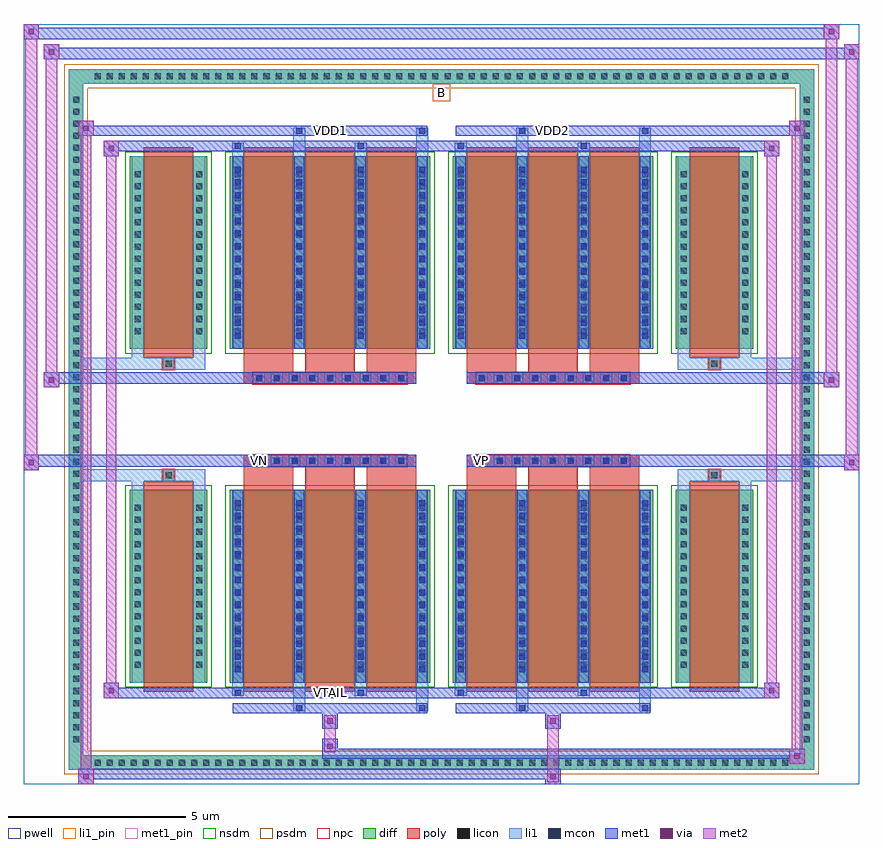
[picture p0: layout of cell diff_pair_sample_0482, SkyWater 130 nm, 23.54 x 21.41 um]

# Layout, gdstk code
import gdstk
lib = gdstk.Library(unit=1e-6, precision=5e-09)
def R(c, l, rs):  # rectangles x0, y0, x1, y1
    for r in rs: c.add(gdstk.rectangle(r[:2], r[2:], *l))
def A(c, l, x, y, w, h, nx, ny, dx, dy):  # array of equal rectangles
    R(c, l, [(x+i*dx, y+j*dy, x+i*dx+w, y+j*dy+h) for i in range(nx) for j in range(ny)])
def P(c, l, *ps):  # polygons
    for p in ps: c.add(gdstk.Polygon(p, *l))
pwell = (64, 44)
diff = (65, 20)
poly = (66, 20)
licon = (66, 44)
li1_pin = (67, 16)
li1 = (67, 20)
mcon = (67, 44)
met1_pin = (68, 16)
met1 = (68, 20)
via = (68, 44)
met2 = (69, 20)
nsdm = (93, 44)
psdm = (94, 20)
npc = (95, 20)

diff_pair_sample_0482 = lib.new_cell('diff_pair_sample_0482')
R(diff_pair_sample_0482, pwell, [(-11.77,-10.27,11.77,11.14), (-9.09,-8.46,-0.01,-0.8), (0.01,-8.46,9.09,-0.8), (-9.09,0.8,-0.01,8.46), (0.01,0.8,9.09,8.46)])
A(diff_pair_sample_0482, diff, -9.895, -9.87, 0.41, 0.41, 58, 2, 0.34, 19.33)
A(diff_pair_sample_0482, diff, -10.5, -9.215, 0.41, 0.41, 1, 54, 0, 0.34)
A(diff_pair_sample_0482, diff, 10.09, -9.215, 0.41, 0.41, 1, 54, 0, 0.34)
R(diff_pair_sample_0482, diff, [(-9.895,-9.87,9.895,-9.46), (-10.5,-9.215,-10.09,9.215), (10.09,-9.215,10.5,9.215), (-8.78,-7.415,-6.6,-1.985), (-5.96,-7.415,-0.32,-1.985), (0.32,-7.415,5.96,-1.985), (6.6,-7.415,8.78,-1.985), (-8.78,1.985,-6.6,7.415), (-5.96,1.985,-0.32,7.415), (0.32,1.985,5.96,7.415), (6.6,1.985,8.78,7.415), (-9.895,9.46,9.895,9.87)])
P(diff_pair_sample_0482, diff, [(10.5,9.87),(-10.5,9.87),(-10.5,-9.46),(-10.09,-9.46),(-10.09,9.46),(10.09,9.46),(10.09,-9.46),(-10.09,-9.46),(-10.5,-9.46),(-10.5,-9.87),(10.5,-9.87)])
A(diff_pair_sample_0482, poly, -5.57, -7.665, 1.4, 5.93, 3, 2, 1.73, 9.4)
A(diff_pair_sample_0482, poly, 0.71, -7.665, 1.4, 5.93, 3, 2, 1.73, 9.4)
A(diff_pair_sample_0482, poly, -5.57, -1.735, 1.4, 0.405, 3, 2, 1.73, 3.065)
A(diff_pair_sample_0482, poly, 0.71, -1.735, 1.4, 0.405, 3, 2, 1.73, 3.065)
A(diff_pair_sample_0482, poly, -5.305, -1.33, 0.33, 0.33, 9, 2, 0.5, 2.33)
A(diff_pair_sample_0482, poly, 0.975, -1.33, 0.33, 0.33, 9, 2, 0.5, 2.33)
R(diff_pair_sample_0482, poly, [(-8.39,-7.665,-6.99,-1.735), (6.99,-7.665,8.39,-1.735), (-7.855,-1.735,-7.525,-1.405), (-7.855,-1.735,-7.525,-1.405), (7.525,-1.735,7.855,-1.405), (7.525,-1.735,7.855,-1.405), (-5.57,-1.33,-0.71,-1), (0.71,-1.33,5.57,-1), (-5.57,1,-0.71,1.33), (0.71,1,5.57,1.33), (-7.855,1.405,-7.525,1.735), (-7.855,1.405,-7.525,1.735), (7.525,1.405,7.855,1.735), (7.525,1.405,7.855,1.735), (-8.39,1.735,-6.99,7.665), (6.99,1.735,8.39,7.665)])
A(diff_pair_sample_0482, licon, -9.775, -9.75, 0.17, 0.17, 58, 2, 0.34, 19.33)
A(diff_pair_sample_0482, licon, -10.38, -9.095, 0.17, 0.17, 1, 54, 0, 0.34)
A(diff_pair_sample_0482, licon, 10.21, -9.095, 0.17, 0.17, 1, 54, 0, 0.34)
A(diff_pair_sample_0482, licon, -8.64, -6.995, 0.17, 0.17, 1, 14, 0, 0.34)
A(diff_pair_sample_0482, licon, -6.91, -6.995, 0.17, 0.17, 1, 14, 0, 0.34)
A(diff_pair_sample_0482, licon, -5.82, -6.995, 0.17, 0.17, 4, 14, 1.73, 0.34)
A(diff_pair_sample_0482, licon, 0.46, -6.995, 0.17, 0.17, 4, 14, 1.73, 0.34)
A(diff_pair_sample_0482, licon, 6.74, -6.995, 0.17, 0.17, 1, 14, 0, 0.34)
A(diff_pair_sample_0482, licon, 8.47, -6.995, 0.17, 0.17, 1, 14, 0, 0.34)
A(diff_pair_sample_0482, licon, -5.225, -1.25, 0.17, 0.17, 9, 2, 0.5, 2.33)
A(diff_pair_sample_0482, licon, 1.055, -1.25, 0.17, 0.17, 9, 2, 0.5, 2.33)
A(diff_pair_sample_0482, licon, -8.64, 2.405, 0.17, 0.17, 1, 14, 0, 0.34)
A(diff_pair_sample_0482, licon, -6.91, 2.405, 0.17, 0.17, 1, 14, 0, 0.34)
A(diff_pair_sample_0482, licon, -5.82, 2.405, 0.17, 0.17, 4, 14, 1.73, 0.34)
A(diff_pair_sample_0482, licon, 0.46, 2.405, 0.17, 0.17, 4, 14, 1.73, 0.34)
A(diff_pair_sample_0482, licon, 6.74, 2.405, 0.17, 0.17, 1, 14, 0, 0.34)
A(diff_pair_sample_0482, licon, 8.47, 2.405, 0.17, 0.17, 1, 14, 0, 0.34)
R(diff_pair_sample_0482, licon, [(-7.775,-1.655,-7.605,-1.485), (7.605,-1.655,7.775,-1.485), (-7.775,1.485,-7.605,1.655), (7.605,1.485,7.775,1.655)])
R(diff_pair_sample_0482, li1_pin, [(-0.25,8.96,0.25,9.46)])
A(diff_pair_sample_0482, li1, -9.855, -9.83, 0.33, 0.33, 58, 2, 0.34, 19.33)
A(diff_pair_sample_0482, li1, -10.46, -9.175, 0.33, 0.33, 1, 54, 0, 0.34)
A(diff_pair_sample_0482, li1, 10.13, -9.175, 0.33, 0.33, 1, 54, 0, 0.34)
A(diff_pair_sample_0482, li1, -5.9, -7.415, 0.33, 5.43, 4, 2, 1.73, 9.4)
A(diff_pair_sample_0482, li1, 0.38, -7.415, 0.33, 5.43, 4, 2, 1.73, 9.4)
A(diff_pair_sample_0482, li1, -5.82, -7.125, 0.17, 0.17, 4, 14, 1.73, 0.36)
A(diff_pair_sample_0482, li1, -5.82, -7.125, 0.17, 4.85, 4, 2, 1.73, 9.4)
A(diff_pair_sample_0482, li1, 0.46, -7.125, 0.17, 0.17, 4, 14, 1.73, 0.36)
A(diff_pair_sample_0482, li1, 0.46, -7.125, 0.17, 4.85, 4, 2, 1.73, 9.4)
A(diff_pair_sample_0482, li1, -8.72, -7.075, 0.33, 0.33, 1, 14, 0, 0.34)
A(diff_pair_sample_0482, li1, -6.99, -7.075, 0.33, 0.33, 1, 14, 0, 0.34)
A(diff_pair_sample_0482, li1, -5.9, -7.075, 0.33, 0.33, 4, 14, 1.73, 0.34)
A(diff_pair_sample_0482, li1, 0.38, -7.075, 0.33, 0.33, 4, 14, 1.73, 0.34)
A(diff_pair_sample_0482, li1, 6.66, -7.075, 0.33, 0.33, 1, 14, 0, 0.34)
A(diff_pair_sample_0482, li1, 8.39, -7.075, 0.33, 0.33, 1, 14, 0, 0.34)
A(diff_pair_sample_0482, li1, -5.305, -1.33, 0.33, 0.33, 9, 2, 0.5, 2.33)
A(diff_pair_sample_0482, li1, 0.975, -1.33, 0.33, 0.33, 9, 2, 0.5, 2.33)
A(diff_pair_sample_0482, li1, -5.82, 2.275, 0.17, 0.17, 4, 14, 1.73, 0.36)
A(diff_pair_sample_0482, li1, 0.46, 2.275, 0.17, 0.17, 4, 14, 1.73, 0.36)
A(diff_pair_sample_0482, li1, -8.72, 2.325, 0.33, 0.33, 1, 14, 0, 0.34)
A(diff_pair_sample_0482, li1, -6.99, 2.325, 0.33, 0.33, 1, 14, 0, 0.34)
A(diff_pair_sample_0482, li1, -5.9, 2.325, 0.33, 0.33, 4, 14, 1.73, 0.34)
A(diff_pair_sample_0482, li1, 0.38, 2.325, 0.33, 0.33, 4, 14, 1.73, 0.34)
A(diff_pair_sample_0482, li1, 6.66, 2.325, 0.33, 0.33, 1, 14, 0, 0.34)
A(diff_pair_sample_0482, li1, 8.39, 2.325, 0.33, 0.33, 1, 14, 0, 0.34)
R(diff_pair_sample_0482, li1, [(-10.5,-9.87,-10.09,-9.46), (-10.5,-9.87,-10.09,-9.46), (-10.09,-9.87,10.09,-9.46), (10.09,-9.87,10.5,-9.46), (10.09,-9.87,10.5,-9.46), (-10.5,-9.46,-10.09,9.46), (10.09,-9.46,10.5,9.46), (-4.17,-8.22,-3.84,-7.415), (-4.09,-8.22,-3.92,-8.05), (-0.71,-8.22,-0.38,-7.415), (-0.63,-8.22,-0.46,-8.05), (2.11,-8.22,2.44,-7.415), (2.19,-8.22,2.36,-8.05), (5.57,-8.22,5.9,-7.415), (5.65,-8.22,5.82,-8.05), (-5.9,-7.79,-5.57,-7.415), (-5.82,-7.79,-5.65,-7.62), (-2.44,-7.79,-2.11,-7.415), (-2.36,-7.79,-2.19,-7.62), (0.38,-7.79,0.71,-7.415), (0.46,-7.79,0.63,-7.62), (3.84,-7.79,4.17,-7.415), (3.92,-7.79,4.09,-7.62), (-8.72,-7.415,-8.39,-1.985), (-6.99,-7.415,-6.66,-1.985), (6.66,-7.415,6.99,-1.985), (8.39,-7.415,8.72,-1.985), (-8.72,-1.985,-8.39,-1.405), (-6.99,-1.985,-6.66,-1.405), (6.66,-1.985,6.99,-1.405), (8.39,-1.985,8.72,-1.405), (-10.5,-1.735,-7.855,-1.405), (-8.72,-1.735,-7.855,-1.405), (-7.855,-1.735,-7.525,-1.405), (-7.525,-1.735,-6.66,-1.405), (6.66,-1.735,7.525,-1.405), (7.525,-1.735,7.855,-1.405), (7.525,-1.735,10.5,-1.405), (7.855,-1.735,8.72,-1.405), (-10.5,1.405,-7.855,1.735), (-8.72,1.405,-7.855,1.735), (-8.72,1.405,-8.39,1.985), (-7.855,1.405,-7.525,1.735), (-7.525,1.405,-6.66,1.735), (-6.99,1.405,-6.66,1.985), (6.66,1.405,7.525,1.735), (6.66,1.405,6.99,1.985), (7.525,1.405,7.855,1.735), (7.525,1.405,10.5,1.735), (7.855,1.405,8.72,1.735), (8.39,1.405,8.72,1.985), (-8.72,1.985,-8.39,7.415), (-6.99,1.985,-6.66,7.415), (6.66,1.985,6.99,7.415), (8.39,1.985,8.72,7.415), (-5.9,7.415,-5.57,7.79), (-4.17,7.415,-3.84,8.22), (-2.44,7.415,-2.11,7.79), (-0.71,7.415,-0.38,8.22), (0.38,7.415,0.71,7.79), (2.11,7.415,2.44,8.22), (3.84,7.415,4.17,7.79), (5.57,7.415,5.9,8.22), (-5.82,7.62,-5.65,7.79), (-2.36,7.62,-2.19,7.79), (0.46,7.62,0.63,7.79), (3.92,7.62,4.09,7.79), (-4.09,8.05,-3.92,8.22), (-0.63,8.05,-0.46,8.22), (2.19,8.05,2.36,8.22), (5.65,8.05,5.82,8.22), (-10.5,9.46,-10.09,9.87), (-10.5,9.46,-10.09,9.87), (-10.09,9.46,10.09,9.87), (10.09,9.46,10.5,9.87), (10.09,9.46,10.5,9.87)])
A(diff_pair_sample_0482, mcon, -5.82, -7.125, 0.17, 0.17, 4, 14, 1.73, 0.36)
A(diff_pair_sample_0482, mcon, 0.46, -7.125, 0.17, 0.17, 4, 14, 1.73, 0.36)
A(diff_pair_sample_0482, mcon, -5.225, -1.25, 0.17, 0.17, 9, 2, 0.5, 2.33)
A(diff_pair_sample_0482, mcon, 1.055, -1.25, 0.17, 0.17, 9, 2, 0.5, 2.33)
A(diff_pair_sample_0482, mcon, -5.82, 2.275, 0.17, 0.17, 4, 14, 1.73, 0.36)
A(diff_pair_sample_0482, mcon, 0.46, 2.275, 0.17, 0.17, 4, 14, 1.73, 0.36)
R(diff_pair_sample_0482, mcon, [(-4.09,-8.22,-3.92,-8.05), (-0.63,-8.22,-0.46,-8.05), (2.19,-8.22,2.36,-8.05), (5.65,-8.22,5.82,-8.05), (-5.82,-7.79,-5.65,-7.62), (-2.36,-7.79,-2.19,-7.62), (0.46,-7.79,0.63,-7.62), (3.92,-7.79,4.09,-7.62), (-5.82,7.62,-5.65,7.79), (-2.36,7.62,-2.19,7.79), (0.46,7.62,0.63,7.79), (3.92,7.62,4.09,7.79), (-4.09,8.05,-3.92,8.22), (-0.63,8.05,-0.46,8.22), (2.19,8.05,2.36,8.22), (5.65,8.05,5.82,8.22)])
R(diff_pair_sample_0482, met1_pin, [(-3.275,-7.83,-3.005,-7.56), (-5.275,-1.29,-5.005,-1.02), (1.005,-1.29,1.275,-1.02), (-3.275,8.01,-3.005,8.28), (3.005,8.01,3.275,8.28)])
A(diff_pair_sample_0482, met1, -5.88, -7.415, 0.29, 5.43, 4, 2, 1.73, 9.4)
A(diff_pair_sample_0482, met1, 0.4, -7.415, 0.29, 5.43, 4, 2, 1.73, 9.4)
A(diff_pair_sample_0482, met1, -5.88, -7.185, 0.29, 0.29, 4, 14, 1.73, 0.36)
A(diff_pair_sample_0482, met1, 0.4, -7.185, 0.29, 0.29, 4, 14, 1.73, 0.36)
A(diff_pair_sample_0482, met1, -5.285, -1.31, 0.29, 0.29, 9, 2, 0.5, 2.33)
A(diff_pair_sample_0482, met1, 0.995, -1.31, 0.29, 0.29, 9, 2, 0.5, 2.33)
A(diff_pair_sample_0482, met1, -5.88, 2.215, 0.29, 0.29, 4, 14, 1.73, 0.36)
A(diff_pair_sample_0482, met1, 0.4, 2.215, 0.29, 0.29, 4, 14, 1.73, 0.36)
R(diff_pair_sample_0482, met1, [(-10.23,-10.27,-9.8,-9.84), (2.925,-10.27,3.355,-9.84), (-10.23,-10.13,3.355,-9.84), (9.8,-9.7,10.23,-9.27), (-3.355,-9.56,10.23,-9.27), (-3.355,-9.42,-2.925,-8.99), (-3.355,-8.71,-2.925,-8.28), (2.925,-8.71,3.355,-8.28), (-5.88,-8.28,-0.4,-7.99), (-4.15,-8.28,-3.86,-7.99), (-0.69,-8.28,-0.4,-7.99), (0.4,-8.28,5.88,-7.99), (2.13,-8.28,2.42,-7.99), (5.59,-8.28,5.88,-7.99), (-9.52,-7.85,-9.09,-7.42), (-9.52,-7.85,-5.88,-7.56), (-5.88,-7.85,-5.59,-7.56), (-5.88,-7.85,-0.4,-7.56), (-2.42,-7.85,-2.13,-7.56), (-0.4,-7.85,0.4,-7.56), (0.4,-7.85,0.69,-7.56), (0.4,-7.85,5.88,-7.56), (3.86,-7.85,4.15,-7.56), (5.88,-7.85,9.52,-7.56), (9.09,-7.85,9.52,-7.42), (-11.77,-1.43,-11.34,-1), (11.34,-1.43,11.77,-1), (-11.77,-1.33,-0.71,-1), (-5.57,-1.33,-0.71,-1), (0.71,-1.33,5.57,-1), (0.71,-1.33,11.77,-1), (-11.2,0.9,-10.77,1.33), (10.77,0.9,11.2,1.33), (-11.2,1,-5.57,1.33), (-5.57,1,-0.71,1.33), (0.71,1,5.57,1.33), (5.57,1,11.2,1.33), (-9.52,7.42,-9.09,7.85), (9.09,7.42,9.52,7.85), (-9.52,7.56,-5.88,7.85), (-5.88,7.56,-5.59,7.85), (-5.88,7.56,-0.4,7.85), (-2.42,7.56,-2.13,7.85), (-0.4,7.56,0.4,7.85), (0.4,7.56,0.69,7.85), (0.4,7.56,5.88,7.85), (3.86,7.56,4.15,7.85), (5.88,7.56,9.52,7.85), (-10.23,7.99,-9.8,8.42), (-10.23,7.99,-5.88,8.28), (-5.88,7.99,-0.4,8.28), (-4.15,7.99,-3.86,8.28), (-0.69,7.99,-0.4,8.28), (0.4,7.99,5.88,8.28), (2.13,7.99,2.42,8.28), (5.59,7.99,5.88,8.28), (5.88,7.99,10.23,8.28), (9.8,7.99,10.23,8.42), (-11.2,10.14,-10.77,10.57), (-11.2,10.14,-9.09,10.47), (-9.09,10.14,9.09,10.47), (9.09,10.14,11.77,10.47), (11.34,10.14,11.77,10.57), (-11.77,10.71,-11.34,11.14), (-11.77,10.71,-9.09,11.04), (-9.09,10.71,9.09,11.04), (9.09,10.71,11.2,11.04), (10.77,10.71,11.2,11.14)])
R(diff_pair_sample_0482, via, [(-10.09,-10.13,-9.94,-9.98), (3.065,-10.13,3.215,-9.98), (9.94,-9.56,10.09,-9.41), (-3.215,-9.28,-3.065,-9.13), (-3.215,-8.57,-3.065,-8.42), (3.065,-8.57,3.215,-8.42), (-9.38,-7.71,-9.23,-7.56), (9.23,-7.71,9.38,-7.56), (-11.63,-1.29,-11.48,-1.14), (11.48,-1.29,11.63,-1.14), (-11.06,1.04,-10.91,1.19), (10.91,1.04,11.06,1.19), (-9.38,7.56,-9.23,7.71), (9.23,7.56,9.38,7.71), (-10.09,8.13,-9.94,8.28), (9.94,8.13,10.09,8.28), (-11.06,10.28,-10.91,10.43), (11.48,10.28,11.63,10.43), (-11.63,10.85,-11.48,11), (10.91,10.85,11.06,11)])
R(diff_pair_sample_0482, met2, [(-10.23,-10.27,-9.8,-9.84), (-10.16,-10.27,-9.87,8.42), (-9.87,-10.27,-9.8,-9.84), (-10.18,-10.22,-9.85,-9.89), (2.975,-10.22,3.305,-9.89), (2.975,-9.89,3.305,-8.66), (9.8,-9.7,10.23,-9.27), (9.87,-9.7,10.16,8.42), (10.16,-9.7,10.23,-9.27), (9.85,-9.65,10.18,-9.32), (-3.305,-9.37,-2.975,-9.04), (-3.305,-9.04,-2.975,-8.66), (-3.305,-8.66,-2.975,-8.33), (2.975,-8.66,3.305,-8.33), (-9.52,-7.85,-9.09,-7.42), (-9.45,-7.85,-9.16,7.85), (-9.16,-7.85,-9.09,-7.42), (9.09,-7.85,9.52,-7.42), (9.16,-7.85,9.45,7.85), (9.45,-7.85,9.52,-7.42), (-9.47,-7.8,-9.14,-7.47), (9.14,-7.8,9.47,-7.47), (-11.77,-1.43,-11.34,-1), (-11.72,-1.43,-11.39,11.14), (-11.39,-1.43,-11.34,-1), (11.34,-1.43,11.77,-1), (11.39,-1.43,11.72,10.57), (11.72,-1.43,11.77,-1), (-11.72,-1.38,-11.39,-1.05), (11.39,-1.38,11.72,-1.05), (-11.2,0.9,-10.77,1.33), (-11.15,0.9,-10.82,10.57), (-10.82,0.9,-10.77,1.33), (10.77,0.9,11.2,1.33), (10.82,0.9,11.15,11.14), (11.15,0.9,11.2,1.33), (-11.15,0.95,-10.82,1.28), (10.82,0.95,11.15,1.28), (-9.52,7.42,-9.09,7.85), (-9.16,7.42,-9.09,7.85), (9.09,7.42,9.52,7.85), (9.45,7.42,9.52,7.85), (-9.47,7.47,-9.14,7.8), (9.14,7.47,9.47,7.8), (-10.23,7.99,-9.8,8.42), (-9.87,7.99,-9.8,8.42), (9.8,7.99,10.23,8.42), (10.16,7.99,10.23,8.42), (-10.18,8.04,-9.85,8.37), (9.85,8.04,10.18,8.37), (-11.2,10.14,-10.77,10.57), (-10.82,10.14,-10.77,10.57), (11.34,10.14,11.77,10.57), (11.72,10.14,11.77,10.57), (-11.15,10.19,-10.82,10.52), (11.39,10.19,11.72,10.52), (-11.77,10.71,-11.34,11.14), (-11.39,10.71,-11.34,11.14), (10.77,10.71,11.2,11.14), (11.15,10.71,11.2,11.14), (-11.72,10.76,-11.39,11.09), (10.82,10.76,11.15,11.09)])
R(diff_pair_sample_0482, nsdm, [(-8.91,-7.545,-6.47,-1.855), (-6.09,-7.545,-0.19,-1.855), (0.19,-7.545,6.09,-1.855), (6.47,-7.545,8.91,-1.855), (-8.91,1.855,-6.47,7.545), (-6.09,1.855,-0.19,7.545), (0.19,1.855,6.09,7.545), (6.47,1.855,8.91,7.545)])
P(diff_pair_sample_0482, psdm, [(10.63,10),(-10.63,10),(-10.63,-9.33),(-9.96,-9.33),(-9.96,9.33),(9.96,9.33),(9.96,-9.33),(-9.96,-9.33),(-10.63,-9.33),(-10.63,-10),(10.63,-10)])
A(diff_pair_sample_0482, npc, -5.325, -1.35, 0.37, 0.37, 9, 2, 0.5, 2.33)
A(diff_pair_sample_0482, npc, 0.955, -1.35, 0.37, 0.37, 9, 2, 0.5, 2.33)
R(diff_pair_sample_0482, npc, [(-7.875,-1.755,-7.505,-1.385), (7.505,-1.755,7.875,-1.385), (-5.325,-1.35,-4.455,-0.98), (-5.325,-1.35,-4.455,-0.98), (-4.825,-1.35,-3.955,-0.98), (-4.825,-1.35,-3.955,-0.98), (-4.325,-1.35,-3.455,-0.98), (-4.325,-1.35,-3.455,-0.98), (-3.825,-1.35,-2.955,-0.98), (-3.825,-1.35,-2.955,-0.98), (-3.325,-1.35,-2.455,-0.98), (-3.325,-1.35,-2.455,-0.98), (-2.825,-1.35,-1.955,-0.98), (-2.825,-1.35,-1.955,-0.98), (-2.325,-1.35,-1.455,-0.98), (-2.325,-1.35,-1.455,-0.98), (-1.825,-1.35,-0.955,-0.98), (-1.825,-1.35,-0.955,-0.98), (0.955,-1.35,1.825,-0.98), (0.955,-1.35,1.825,-0.98), (1.455,-1.35,2.325,-0.98), (1.455,-1.35,2.325,-0.98), (1.955,-1.35,2.825,-0.98), (1.955,-1.35,2.825,-0.98), (2.455,-1.35,3.325,-0.98), (2.455,-1.35,3.325,-0.98), (2.955,-1.35,3.825,-0.98), (2.955,-1.35,3.825,-0.98), (3.455,-1.35,4.325,-0.98), (3.455,-1.35,4.325,-0.98), (3.955,-1.35,4.825,-0.98), (3.955,-1.35,4.825,-0.98), (4.455,-1.35,5.325,-0.98), (4.455,-1.35,5.325,-0.98), (-5.325,0.98,-4.455,1.35), (-5.325,0.98,-4.455,1.35), (-4.825,0.98,-3.955,1.35), (-4.825,0.98,-3.955,1.35), (-4.325,0.98,-3.455,1.35), (-4.325,0.98,-3.455,1.35), (-3.825,0.98,-2.955,1.35), (-3.825,0.98,-2.955,1.35), (-3.325,0.98,-2.455,1.35), (-3.325,0.98,-2.455,1.35), (-2.825,0.98,-1.955,1.35), (-2.825,0.98,-1.955,1.35), (-2.325,0.98,-1.455,1.35), (-2.325,0.98,-1.455,1.35), (-1.825,0.98,-0.955,1.35), (-1.825,0.98,-0.955,1.35), (0.955,0.98,1.825,1.35), (0.955,0.98,1.825,1.35), (1.455,0.98,2.325,1.35), (1.455,0.98,2.325,1.35), (1.955,0.98,2.825,1.35), (1.955,0.98,2.825,1.35), (2.455,0.98,3.325,1.35), (2.455,0.98,3.325,1.35), (2.955,0.98,3.825,1.35), (2.955,0.98,3.825,1.35), (3.455,0.98,4.325,1.35), (3.455,0.98,4.325,1.35), (3.955,0.98,4.825,1.35), (3.955,0.98,4.825,1.35), (4.455,0.98,5.325,1.35), (4.455,0.98,5.325,1.35), (-7.875,1.385,-7.505,1.755), (7.505,1.385,7.875,1.755)])
diff_pair_sample_0482.add(gdstk.Label('VTAIL', (-3.14,-7.695), layer=68, texttype=5))
diff_pair_sample_0482.add(gdstk.Label('VN', (-5.14,-1.155), layer=68, texttype=5))
diff_pair_sample_0482.add(gdstk.Label('VP', (1.14,-1.155), layer=68, texttype=5))
diff_pair_sample_0482.add(gdstk.Label('B', (0,9.21), layer=67, texttype=5))
diff_pair_sample_0482.add(gdstk.Label('VDD2', (3.14,8.145), layer=68, texttype=5))
diff_pair_sample_0482.add(gdstk.Label('VDD1', (-3.14,8.145), layer=68, texttype=5))

lib.write_gds('diff_pair_sample_0482.gds')
